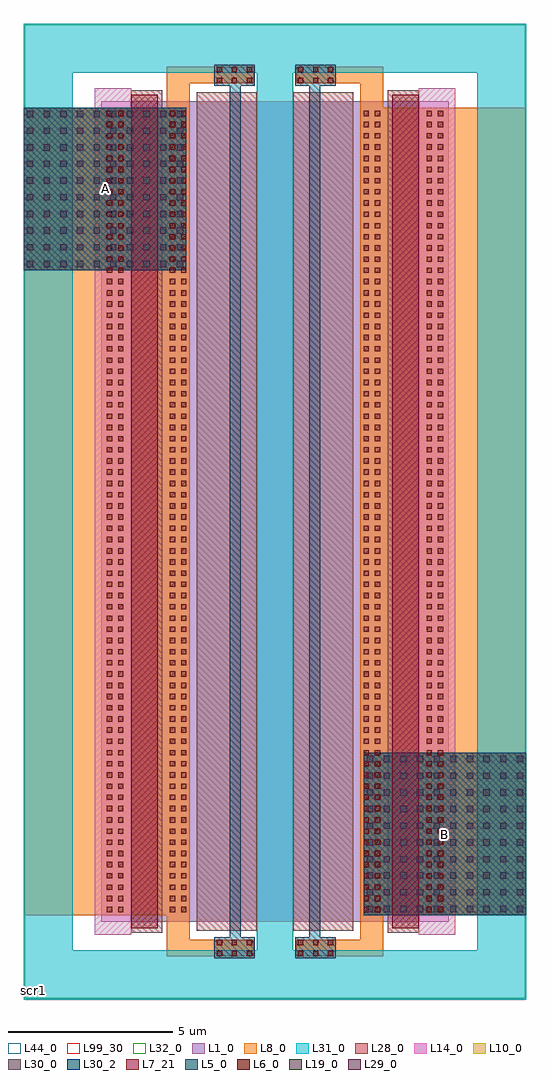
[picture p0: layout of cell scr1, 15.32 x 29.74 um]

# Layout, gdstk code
import gdstk
lib = gdstk.Library(unit=1e-6, precision=1e-09)
def R(c, l, rs):  # rectangles x0, y0, x1, y1
    for r in rs: c.add(gdstk.rectangle(r[:2], r[2:], *l))
def A(c, l, x, y, w, h, nx, ny, dx, dy):  # array of equal rectangles
    R(c, l, [(x+i*dx, y+j*dy, x+i*dx+w, y+j*dy+h) for i in range(nx) for j in range(ny)])
def P(c, l, *ps):  # polygons
    for p in ps: c.add(gdstk.Polygon(p, *l))
L1_0 = (1, 0)
L5_0 = (5, 0)
L6_0 = (6, 0)
L7_21 = (7, 21)
L8_0 = (8, 0)
L10_0 = (10, 0)
L14_0 = (14, 0)
L19_0 = (19, 0)
L28_0 = (28, 0)
L29_0 = (29, 0)
L30_0 = (30, 0)
L30_2 = (30, 2)
L31_0 = (31, 0)
L32_0 = (32, 0)
L44_0 = (44, 0)
L99_30 = (99, 30)

scr1 = lib.new_cell('scr1')
R(scr1, L1_0, [(-5.29,0,5.29,25)])
P(scr1, L5_0, [(-1.85,-1.12),(-1.85,-0.48),(-1.38,-0.48),(-1.38,25.48),(-1.85,25.48),(-1.85,26.12),(-0.62,26.12),(-0.62,25.48),(-1.05,25.48),(-1.05,-0.48),(-0.62,-0.48),(-0.62,-1.12)],
  [(0.62,-1.12),(0.62,-0.48),(1.05,-0.48),(1.05,25.48),(0.62,25.48),(0.62,26.12),(1.85,26.12),(1.85,25.48),(1.38,25.48),(1.38,-0.48),(1.85,-0.48),(1.85,-1.12)])
A(scr1, L6_0, -5.12, 0.29, 0.16, 0.16, 1, 3, 0, 0.34)
A(scr1, L6_0, -4.78, 0.29, 0.16, 0.16, 1, 3, 0, 0.34)
A(scr1, L6_0, -3.2, 0.29, 0.16, 0.16, 1, 3, 0, 0.34)
A(scr1, L6_0, -2.86, 0.29, 0.16, 0.16, 1, 3, 0, 0.34)
A(scr1, L6_0, 2.7, 0.29, 0.16, 0.16, 1, 3, 0, 0.34)
A(scr1, L6_0, 3.04, 0.29, 0.16, 0.16, 1, 3, 0, 0.34)
A(scr1, L6_0, 4.62, 0.29, 0.16, 0.16, 1, 3, 0, 0.34)
A(scr1, L6_0, 4.96, 0.29, 0.16, 0.16, 1, 3, 0, 0.34)
A(scr1, L6_0, -5.12, 1.32, 0.16, 0.16, 1, 6, 0, 0.34)
A(scr1, L6_0, -4.78, 1.32, 0.16, 0.16, 1, 6, 0, 0.34)
A(scr1, L6_0, -3.2, 1.32, 0.16, 0.16, 1, 6, 0, 0.34)
A(scr1, L6_0, -2.86, 1.32, 0.16, 0.16, 1, 6, 0, 0.34)
A(scr1, L6_0, 2.7, 1.32, 0.16, 0.16, 1, 6, 0, 0.34)
A(scr1, L6_0, 3.04, 1.32, 0.16, 0.16, 1, 6, 0, 0.34)
A(scr1, L6_0, 4.62, 1.32, 0.16, 0.16, 1, 6, 0, 0.34)
A(scr1, L6_0, 4.96, 1.32, 0.16, 0.16, 1, 6, 0, 0.34)
A(scr1, L6_0, -5.12, 3.37, 0.16, 0.16, 1, 6, 0, 0.34)
A(scr1, L6_0, -4.78, 3.37, 0.16, 0.16, 1, 6, 0, 0.34)
A(scr1, L6_0, -3.2, 3.37, 0.16, 0.16, 1, 6, 0, 0.34)
A(scr1, L6_0, -2.86, 3.37, 0.16, 0.16, 1, 6, 0, 0.34)
A(scr1, L6_0, 2.7, 3.37, 0.16, 0.16, 1, 6, 0, 0.34)
A(scr1, L6_0, 3.04, 3.37, 0.16, 0.16, 1, 6, 0, 0.34)
A(scr1, L6_0, 4.62, 3.37, 0.16, 0.16, 1, 6, 0, 0.34)
A(scr1, L6_0, 4.96, 3.37, 0.16, 0.16, 1, 6, 0, 0.34)
A(scr1, L6_0, -5.12, 5.42, 0.16, 0.16, 1, 6, 0, 0.34)
A(scr1, L6_0, -4.78, 5.42, 0.16, 0.16, 1, 6, 0, 0.34)
A(scr1, L6_0, -3.2, 5.42, 0.16, 0.16, 1, 6, 0, 0.34)
A(scr1, L6_0, -2.86, 5.42, 0.16, 0.16, 1, 6, 0, 0.34)
A(scr1, L6_0, 2.7, 5.42, 0.16, 0.16, 1, 6, 0, 0.34)
A(scr1, L6_0, 3.04, 5.42, 0.16, 0.16, 1, 6, 0, 0.34)
A(scr1, L6_0, 4.62, 5.42, 0.16, 0.16, 1, 6, 0, 0.34)
A(scr1, L6_0, 4.96, 5.42, 0.16, 0.16, 1, 6, 0, 0.34)
A(scr1, L6_0, -5.12, 7.47, 0.16, 0.16, 1, 6, 0, 0.34)
A(scr1, L6_0, -4.78, 7.47, 0.16, 0.16, 1, 6, 0, 0.34)
A(scr1, L6_0, -3.2, 7.47, 0.16, 0.16, 1, 6, 0, 0.34)
A(scr1, L6_0, -2.86, 7.47, 0.16, 0.16, 1, 6, 0, 0.34)
A(scr1, L6_0, 2.7, 7.47, 0.16, 0.16, 1, 6, 0, 0.34)
A(scr1, L6_0, 3.04, 7.47, 0.16, 0.16, 1, 6, 0, 0.34)
A(scr1, L6_0, 4.62, 7.47, 0.16, 0.16, 1, 6, 0, 0.34)
A(scr1, L6_0, 4.96, 7.47, 0.16, 0.16, 1, 6, 0, 0.34)
A(scr1, L6_0, -5.12, 9.52, 0.16, 0.16, 1, 6, 0, 0.34)
A(scr1, L6_0, -4.78, 9.52, 0.16, 0.16, 1, 6, 0, 0.34)
A(scr1, L6_0, -3.2, 9.52, 0.16, 0.16, 1, 6, 0, 0.34)
A(scr1, L6_0, -2.86, 9.52, 0.16, 0.16, 1, 6, 0, 0.34)
A(scr1, L6_0, 2.7, 9.52, 0.16, 0.16, 1, 6, 0, 0.34)
A(scr1, L6_0, 3.04, 9.52, 0.16, 0.16, 1, 6, 0, 0.34)
A(scr1, L6_0, 4.62, 9.52, 0.16, 0.16, 1, 6, 0, 0.34)
A(scr1, L6_0, 4.96, 9.52, 0.16, 0.16, 1, 6, 0, 0.34)
A(scr1, L6_0, -5.12, 11.57, 0.16, 0.16, 1, 6, 0, 0.34)
A(scr1, L6_0, -4.78, 11.57, 0.16, 0.16, 1, 6, 0, 0.34)
A(scr1, L6_0, -3.2, 11.57, 0.16, 0.16, 1, 6, 0, 0.34)
A(scr1, L6_0, -2.86, 11.57, 0.16, 0.16, 1, 6, 0, 0.34)
A(scr1, L6_0, 2.7, 11.57, 0.16, 0.16, 1, 6, 0, 0.34)
A(scr1, L6_0, 3.04, 11.57, 0.16, 0.16, 1, 6, 0, 0.34)
A(scr1, L6_0, 4.62, 11.57, 0.16, 0.16, 1, 6, 0, 0.34)
A(scr1, L6_0, 4.96, 11.57, 0.16, 0.16, 1, 6, 0, 0.34)
A(scr1, L6_0, -5.12, 13.62, 0.16, 0.16, 1, 6, 0, 0.34)
A(scr1, L6_0, -4.78, 13.62, 0.16, 0.16, 1, 6, 0, 0.34)
A(scr1, L6_0, -3.2, 13.62, 0.16, 0.16, 1, 6, 0, 0.34)
A(scr1, L6_0, -2.86, 13.62, 0.16, 0.16, 1, 6, 0, 0.34)
A(scr1, L6_0, 2.7, 13.62, 0.16, 0.16, 1, 6, 0, 0.34)
A(scr1, L6_0, 3.04, 13.62, 0.16, 0.16, 1, 6, 0, 0.34)
A(scr1, L6_0, 4.62, 13.62, 0.16, 0.16, 1, 6, 0, 0.34)
A(scr1, L6_0, 4.96, 13.62, 0.16, 0.16, 1, 6, 0, 0.34)
A(scr1, L6_0, -5.12, 15.67, 0.16, 0.16, 1, 5, 0, 0.34)
A(scr1, L6_0, -4.78, 15.67, 0.16, 0.16, 1, 5, 0, 0.34)
A(scr1, L6_0, -3.2, 15.67, 0.16, 0.16, 1, 5, 0, 0.34)
A(scr1, L6_0, -2.86, 15.67, 0.16, 0.16, 1, 5, 0, 0.34)
A(scr1, L6_0, 2.7, 15.67, 0.16, 0.16, 1, 5, 0, 0.34)
A(scr1, L6_0, 3.04, 15.67, 0.16, 0.16, 1, 5, 0, 0.34)
A(scr1, L6_0, 4.62, 15.67, 0.16, 0.16, 1, 5, 0, 0.34)
A(scr1, L6_0, 4.96, 15.67, 0.16, 0.16, 1, 5, 0, 0.34)
A(scr1, L6_0, -5.12, 17.38, 0.16, 0.16, 1, 6, 0, 0.34)
A(scr1, L6_0, -4.78, 17.38, 0.16, 0.16, 1, 6, 0, 0.34)
A(scr1, L6_0, -3.2, 17.38, 0.16, 0.16, 1, 6, 0, 0.34)
A(scr1, L6_0, -2.86, 17.38, 0.16, 0.16, 1, 6, 0, 0.34)
A(scr1, L6_0, 2.7, 17.38, 0.16, 0.16, 1, 6, 0, 0.34)
A(scr1, L6_0, 3.04, 17.38, 0.16, 0.16, 1, 6, 0, 0.34)
A(scr1, L6_0, 4.62, 17.38, 0.16, 0.16, 1, 6, 0, 0.34)
A(scr1, L6_0, 4.96, 17.38, 0.16, 0.16, 1, 6, 0, 0.34)
A(scr1, L6_0, -5.12, 19.43, 0.16, 0.16, 1, 6, 0, 0.34)
A(scr1, L6_0, -4.78, 19.43, 0.16, 0.16, 1, 6, 0, 0.34)
A(scr1, L6_0, -3.2, 19.43, 0.16, 0.16, 1, 6, 0, 0.34)
A(scr1, L6_0, -2.86, 19.43, 0.16, 0.16, 1, 6, 0, 0.34)
A(scr1, L6_0, 2.7, 19.43, 0.16, 0.16, 1, 6, 0, 0.34)
A(scr1, L6_0, 3.04, 19.43, 0.16, 0.16, 1, 6, 0, 0.34)
A(scr1, L6_0, 4.62, 19.43, 0.16, 0.16, 1, 6, 0, 0.34)
A(scr1, L6_0, 4.96, 19.43, 0.16, 0.16, 1, 6, 0, 0.34)
A(scr1, L6_0, -5.12, 21.48, 0.16, 0.16, 1, 6, 0, 0.34)
A(scr1, L6_0, -4.78, 21.48, 0.16, 0.16, 1, 6, 0, 0.34)
A(scr1, L6_0, -3.2, 21.48, 0.16, 0.16, 1, 6, 0, 0.34)
A(scr1, L6_0, -2.86, 21.48, 0.16, 0.16, 1, 6, 0, 0.34)
A(scr1, L6_0, 2.7, 21.48, 0.16, 0.16, 1, 6, 0, 0.34)
A(scr1, L6_0, 3.04, 21.48, 0.16, 0.16, 1, 6, 0, 0.34)
A(scr1, L6_0, 4.62, 21.48, 0.16, 0.16, 1, 6, 0, 0.34)
A(scr1, L6_0, 4.96, 21.48, 0.16, 0.16, 1, 6, 0, 0.34)
A(scr1, L6_0, -5.12, 23.53, 0.16, 0.16, 1, 4, 0, 0.34)
A(scr1, L6_0, -4.78, 23.53, 0.16, 0.16, 1, 4, 0, 0.34)
A(scr1, L6_0, -3.2, 23.53, 0.16, 0.16, 1, 4, 0, 0.34)
A(scr1, L6_0, -2.86, 23.53, 0.16, 0.16, 1, 4, 0, 0.34)
A(scr1, L6_0, 2.7, 23.53, 0.16, 0.16, 1, 4, 0, 0.34)
A(scr1, L6_0, 3.04, 23.53, 0.16, 0.16, 1, 4, 0, 0.34)
A(scr1, L6_0, 4.62, 23.53, 0.16, 0.16, 1, 4, 0, 0.34)
A(scr1, L6_0, 4.96, 23.53, 0.16, 0.16, 1, 4, 0, 0.34)
R(scr1, L6_0, [(-1.77,-1.05,-1.61,-0.89), (-1.32,-1.05,-1.16,-0.89), (-0.86,-1.05,-0.7,-0.89), (0.7,-1.05,0.86,-0.89), (1.16,-1.05,1.32,-0.89), (1.61,-1.05,1.77,-0.89), (-1.77,-0.71,-1.61,-0.55), (-1.32,-0.71,-1.16,-0.55), (-0.86,-0.71,-0.7,-0.55), (0.7,-0.71,0.86,-0.55), (1.16,-0.71,1.32,-0.55), (1.61,-0.71,1.77,-0.55), (-1.77,25.55,-1.61,25.71), (-1.32,25.55,-1.16,25.71), (-0.86,25.55,-0.7,25.71), (0.7,25.55,0.86,25.71), (1.16,25.55,1.32,25.71), (1.61,25.55,1.77,25.71), (-1.77,25.89,-1.61,26.05), (-1.32,25.89,-1.16,26.05), (-0.86,25.89,-0.7,26.05), (0.7,25.89,0.86,26.05), (1.16,25.89,1.32,26.05), (1.61,25.89,1.77,26.05)])
R(scr1, L7_21, [(-4.38,-0.2,-3.58,25.2), (3.58,-0.2,4.38,25.2)])
P(scr1, L8_0, [(0.65,-1.05),(0.65,-0.55),(2.6,-0.55),(2.6,25.55),(0.65,25.55),(0.65,26.05),(3.3,26.05),(3.3,24.81),(7.66,24.81),(7.66,0.19),(3.3,0.19),(3.3,-1.05)],
  [(-3.3,-1.05),(-3.3,0.19),(-7.66,0.19),(-7.66,24.81),(-3.3,24.81),(-3.3,26.05),(-0.65,26.05),(-0.65,25.55),(-2.6,25.55),(-2.6,-0.55),(-0.65,-0.55),(-0.65,-1.05)])
R(scr1, L10_0, [(2.7,0.19,7.66,5.15), (-7.66,19.85,-2.7,24.81)])
R(scr1, L14_0, [(-5.49,-0.39,-4.38,25.39), (4.38,-0.39,5.49,25.39)])
A(scr1, L19_0, 2.8, 0.29, 0.19, 0.19, 3, 3, 0.51, 0.51)
A(scr1, L19_0, 4.32, 0.29, 0.19, 0.19, 4, 3, 0.51, 0.51)
A(scr1, L19_0, 6.35, 0.29, 0.19, 0.19, 3, 3, 0.51, 0.51)
A(scr1, L19_0, 2.8, 1.81, 0.19, 0.19, 3, 4, 0.51, 0.51)
A(scr1, L19_0, 4.32, 1.81, 0.19, 0.19, 4, 4, 0.51, 0.51)
A(scr1, L19_0, 6.35, 1.81, 0.19, 0.19, 3, 4, 0.51, 0.51)
A(scr1, L19_0, 2.8, 3.84, 0.19, 0.19, 3, 3, 0.51, 0.51)
A(scr1, L19_0, 4.32, 3.84, 0.19, 0.19, 4, 3, 0.51, 0.51)
A(scr1, L19_0, 6.35, 3.84, 0.19, 0.19, 3, 3, 0.51, 0.51)
A(scr1, L19_0, -7.56, 19.95, 0.19, 0.19, 3, 3, 0.51, 0.51)
A(scr1, L19_0, -6.04, 19.95, 0.19, 0.19, 4, 3, 0.51, 0.51)
A(scr1, L19_0, -4.01, 19.95, 0.19, 0.19, 3, 3, 0.51, 0.51)
A(scr1, L19_0, -7.56, 21.47, 0.19, 0.19, 3, 4, 0.51, 0.51)
A(scr1, L19_0, -6.04, 21.47, 0.19, 0.19, 4, 4, 0.51, 0.51)
A(scr1, L19_0, -4.01, 21.47, 0.19, 0.19, 3, 4, 0.51, 0.51)
A(scr1, L19_0, -7.56, 23.5, 0.19, 0.19, 3, 3, 0.51, 0.51)
A(scr1, L19_0, -6.04, 23.5, 0.19, 0.19, 4, 3, 0.51, 0.51)
A(scr1, L19_0, -4.01, 23.5, 0.19, 0.19, 3, 3, 0.51, 0.51)
R(scr1, L28_0, [(-4.38,-0.33,-3.43,25.33), (3.43,-0.33,4.38,25.33), (-2.38,-0.28,-0.55,25.28), (0.55,-0.28,2.38,25.28)])
A(scr1, L29_0, 2.8, 0.29, 0.19, 0.19, 3, 3, 0.51, 0.51)
A(scr1, L29_0, 4.32, 0.29, 0.19, 0.19, 4, 3, 0.51, 0.51)
A(scr1, L29_0, 6.35, 0.29, 0.19, 0.19, 3, 3, 0.51, 0.51)
A(scr1, L29_0, 2.8, 1.81, 0.19, 0.19, 3, 4, 0.51, 0.51)
A(scr1, L29_0, 4.32, 1.81, 0.19, 0.19, 4, 4, 0.51, 0.51)
A(scr1, L29_0, 6.35, 1.81, 0.19, 0.19, 3, 4, 0.51, 0.51)
A(scr1, L29_0, 2.8, 3.84, 0.19, 0.19, 3, 3, 0.51, 0.51)
A(scr1, L29_0, 4.32, 3.84, 0.19, 0.19, 4, 3, 0.51, 0.51)
A(scr1, L29_0, 6.35, 3.84, 0.19, 0.19, 3, 3, 0.51, 0.51)
A(scr1, L29_0, -7.56, 19.95, 0.19, 0.19, 3, 3, 0.51, 0.51)
A(scr1, L29_0, -6.04, 19.95, 0.19, 0.19, 4, 3, 0.51, 0.51)
A(scr1, L29_0, -4.01, 19.95, 0.19, 0.19, 3, 3, 0.51, 0.51)
A(scr1, L29_0, -7.56, 21.47, 0.19, 0.19, 3, 4, 0.51, 0.51)
A(scr1, L29_0, -6.04, 21.47, 0.19, 0.19, 4, 4, 0.51, 0.51)
A(scr1, L29_0, -4.01, 21.47, 0.19, 0.19, 3, 4, 0.51, 0.51)
A(scr1, L29_0, -7.56, 23.5, 0.19, 0.19, 3, 3, 0.51, 0.51)
A(scr1, L29_0, -6.04, 23.5, 0.19, 0.19, 4, 3, 0.51, 0.51)
A(scr1, L29_0, -4.01, 23.5, 0.19, 0.19, 3, 3, 0.51, 0.51)
R(scr1, L30_0, [(2.7,0.19,7.66,5.15), (-7.66,19.85,-2.7,24.81)])
R(scr1, L30_2, [(2.7,0.19,7.66,5.15), (-7.66,19.85,-2.7,24.81)])
P(scr1, L31_0, [(-7.66,-2.37),(-7.66,-0.87),(6.16,-0.87),(6.16,25.87),(0.55,25.87),(0.55,-0.87),(-0.55,-0.87),(-0.55,25.87),(-6.16,25.87),(-6.16,-0.87),(-7.66,-0.87),(-7.66,27.37),(7.66,27.37),(7.66,-2.37)])
R(scr1, L32_0, [(-7.62,-2.33,7.62,27.33)])
R(scr1, L44_0, [(-7.66,-2.37,0,27.37), (0,-2.37,7.66,27.37)])
R(scr1, L99_30, [(-7.66,-2.37,7.66,27.37)])
scr1.add(gdstk.Label('B', (5.18,2.67), layer=63, texttype=0))
scr1.add(gdstk.Label('A', (-5.18,22.33), layer=63, texttype=0))
scr1.add(gdstk.Label('scr1', (-7.35,-2.09), layer=63, texttype=0))

lib.write_gds('scr1.gds')
